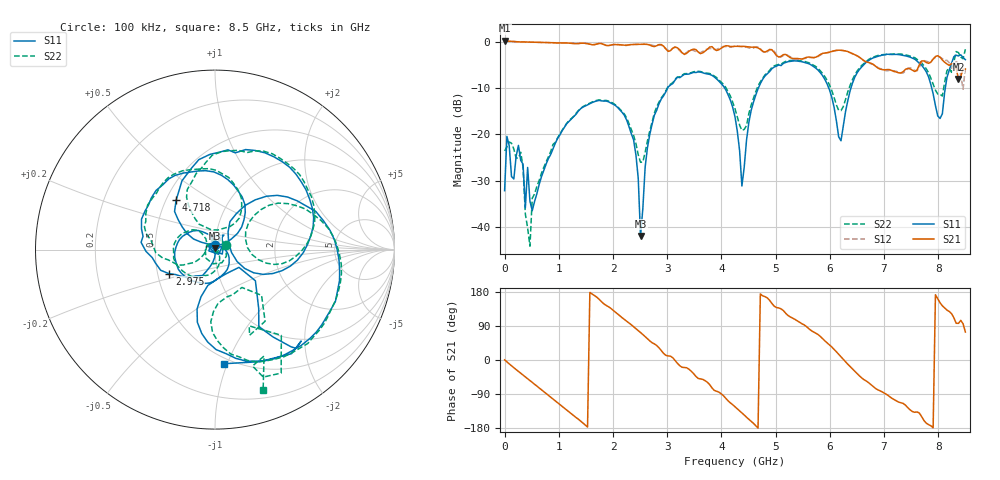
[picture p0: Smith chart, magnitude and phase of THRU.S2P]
!Agilent Technologies,E5071C,MY46101104,A.08.01
!Date: Mon Jan 01 00:32:46 2001
!Data & Calibration Information:
!Freq	S11:SOLT2(ON)	S21:SOLT2(ON)	S12:SOLT2(ON)	S22:SOLT2(ON)
# Hz S dB R 50
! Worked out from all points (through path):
!   201 points, 100 kHz to 8.5 GHz, reference 50 ohm
!   highest |S21| = 0.17 dB at 100 kHz (marker M1); lowest = -8.0 dB at 8.373 GHz (marker M2)
!   group delay of S21, straight-line fit = 320 ps
!   lowest |S11| = -42.0 dB at 2.508 GHz (marker M3), VSWR 1.02, Z = 49.9 + j0.787 ohm
!   |S11| at or under -10 dB: start of sweep to 3.009 GHz; 4.058 GHz to 4.682 GHz (623.9 MHz wide, 14.3 % of centre); 5.979 GHz to 6.389 GHz (410.6 MHz wide, 6.64 % of centre)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
!   |S22| runs from -44.1 to -1.6 dB; largest |S21 - S12| = 0.24
!   S11 on the Smith chart (normalised r, x): 100 kHz: 1.00, +0.05; 2.975 GHz: 0.58, -0.17; 4.718 GHz: 0.56, +0.36; 8.5 GHz: 0.45, -0.97
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100000  -32.18 85.0  0.17 0.3  0.24 1.9  -23.58 25.1
4.25995e7  -20.45 58.4  0.09 -5.0  0.17 -4.5  -22.72 -30.0
2.975965e8  -25.64 26.8  -0.08 -34.7  -0.10 -34.3  -23.89 51.4
4.675945e8  -34.45 132.4  -0.12 -54.2  -0.12 -54.2  -44.14 -46.7
6.80092e8  -29.15 26.8  -0.19 -78.6  -0.19 -78.7  -28.39 -52.8
1.445083e9  -14.14 -106.5  -0.35 -166.3  -0.34 -166.3  -14.04 -131.7
2.252574e9  -16.96 131.4  -0.77 102.7  -0.83 103.2  -16.50 133.4
2.422572e9  -24.46 99.9  -0.62 82.9  -0.62 82.8  -22.01 130.2
2.50757e9  -41.95 98.9  -0.58 72.6  -0.59 72.7  -26.05 158.5
2.847566e9  -13.43 -133.4  -0.65 32.3  -0.72 31.6  -13.04 -157.3
2.975065e9  -10.81 -152.2  -1.61 12.2  -1.52 13.2  -10.61 -170.8
3.655057e9  -6.72 112.4  -2.42 -51.2  -2.12 -50.8  -6.64 106.9
4.25005e9  -16.24 35.7  -1.02 -123.4  -0.96 -123.2  -14.49 52.8
4.377548e9  -31.17 59.3  -1.06 -139.7  -1.11 -140.3  -19.16 82.0
4.717544e9  -9.07 127.9  -1.67 174.3  -1.52 173.8  -8.68 114.8
5.695033e9  -5.36 8.3  -3.46 74.3  -3.48 73.9  -5.08 11.7
6.205027e9  -21.41 27.0  -1.87 8.4  -1.89 8.5  -14.90 19.2
6.502524e9  -6.74 41.0  -3.06 -35.9  -3.09 -35.5  -6.37 32.2
7.097516e9  -2.77 -27.1  -6.04 -96.0  -6.21 -94.8  -2.76 -26.7
8.032506e9  -16.59 -61.7  -3.37 151.0  -3.36 153.1  -11.36 -68.5
8.372502e9  -3.10 -46.7  -8.05 96.6  -4.66 90.6  -2.39 -69.3
8.5e9  -3.91 -85.4  -5.95 73.6  -5.60 100.8  -1.65 -71.1
